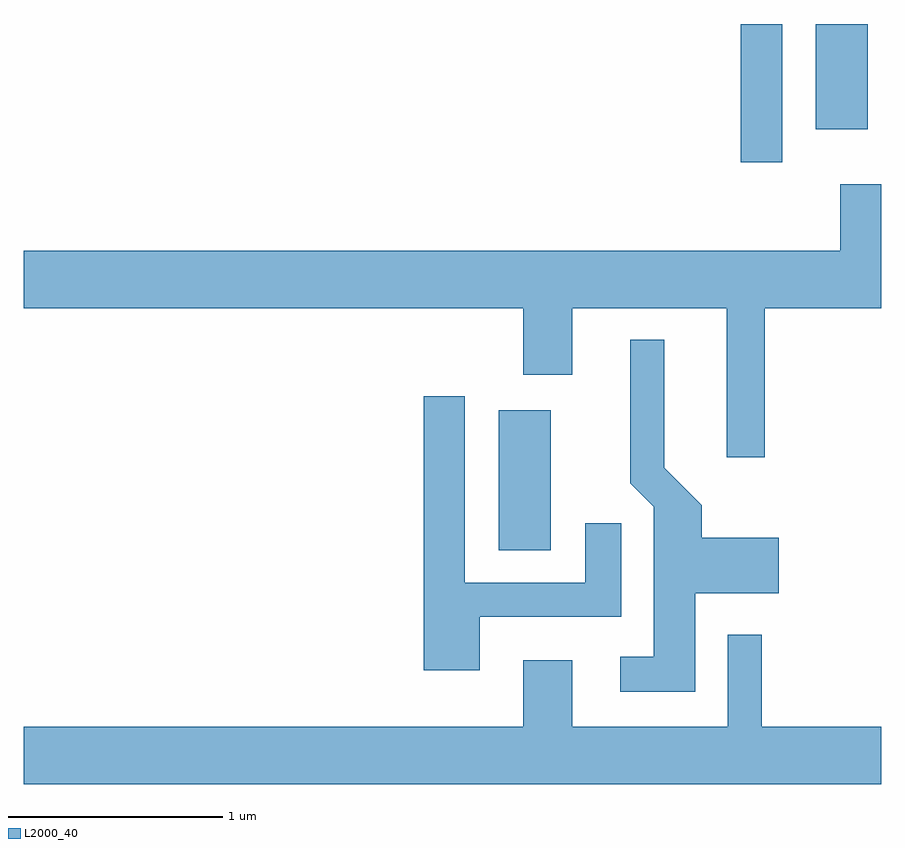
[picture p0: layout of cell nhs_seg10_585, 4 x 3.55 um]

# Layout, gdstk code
import gdstk
lib = gdstk.Library(unit=1e-6, precision=1e-09)
def R(c, l, rs):  # rectangles x0, y0, x1, y1
    for r in rs: c.add(gdstk.rectangle(r[:2], r[2:], *l))
def P(c, l, *ps):  # polygons
    for p in ps: c.add(gdstk.Polygon(p, *l))
L2000_40 = (2000, 40)

nhs_seg10_585 = lib.new_cell('nhs_seg10_585')
R(nhs_seg10_585, L2000_40, [(203.826,2166.066,204.069,2166.719), (204.956,2167.876,205.149,2168.522), (205.306,2168.031,205.549,2168.522)])
P(nhs_seg10_585, L2000_40, [(205.069,2167.196),(205.611,2167.196),(205.611,2167.774),(205.421,2167.774),(205.421,2167.464),(201.611,2167.464),(201.611,2167.196),(203.941,2167.196),(203.941,2166.886),(204.169,2166.886),(204.169,2167.196),(204.891,2167.196),(204.891,2166.501),(205.069,2166.501)],
  [(204.744,2165.866),(205.134,2165.866),(205.134,2166.124),(204.774,2166.124),(204.774,2166.277),(204.599,2166.452),(204.599,2167.048),(204.441,2167.048),(204.441,2166.379),(204.551,2166.269),(204.551,2165.569),(204.393,2165.569),(204.393,2165.406),(204.744,2165.406)],
  [(203.739,2165.756),(204.399,2165.756),(204.399,2166.193),(204.231,2166.193),(204.231,2165.914),(203.669,2165.914),(203.669,2166.784),(203.476,2166.784),(203.476,2165.506),(203.739,2165.506)],
  [(205.611,2165.244),(205.054,2165.244),(205.054,2165.673),(204.896,2165.673),(204.896,2165.244),(204.169,2165.244),(204.169,2165.554),(203.941,2165.554),(203.941,2165.244),(201.611,2165.244),(201.611,2164.976),(205.611,2164.976)])

lib.write_gds('nhs_seg10_585.gds')
